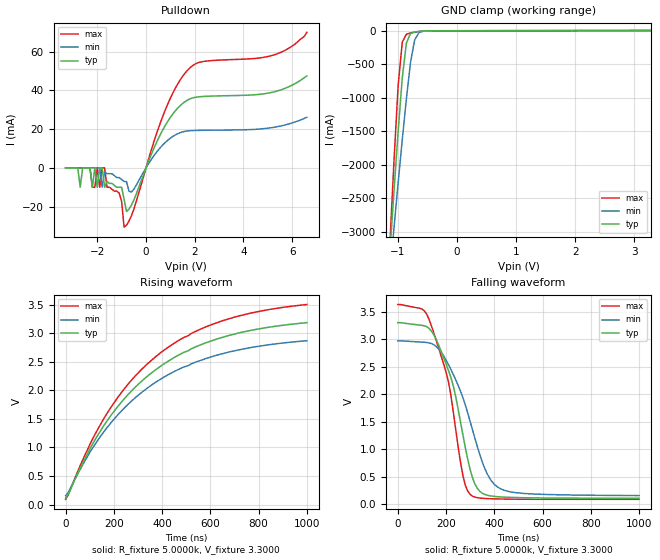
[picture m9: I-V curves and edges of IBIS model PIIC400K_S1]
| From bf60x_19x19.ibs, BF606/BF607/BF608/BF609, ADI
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[Model]  PIIC400K_S1
Model_type I/O_open_drain
Polarity   Non-Inverting
Enable   Active-Low
Vinl =   0.9900V
Vinh =   2.3100V
Vmeas =  1.6500V
Cref =   50.0000pF
Rref =   5.0000k
Vref =   3.3000V
C_comp   5.3246pF   5.6155pF   5.1879pF
[Temperature Range]   25.0000   0.1250k   -40.0000
[Voltage Range]   3.3000V   2.9700V   3.6300V
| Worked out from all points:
|   slope of the pulldown table from 0 to 0.495 V, typ, clamps not added: 33.4 ohm
|   rising waveform, R_fixture 5.0000k, V_fixture 3.3000: 20-80 % time 378ns typ, 378ns min, 379ns max; typ from 0.11 V to 3.19 V
|   falling waveform, R_fixture 5.0000k, V_fixture 3.3000: 20-80 % time 103ns typ, 130ns min, 95.5ns max; typ from 3.3 V to 0.111 V
[Pulldown]
|Voltage   I(typ)   I(min)   I(max)
-3.3V     0A         0A         0A
-2.7V     -10mA      0A         0A
-2.3V     0A         0A         0A
-2.2V     -10mA      0A         -10mA
-2.1V     0A         0A         -10mA
-1.7V     -10mA      -2mA       0A
-1.1V     -10mA      -5mA       -13mA
-900mV    -16.1mA    -7mA       -30.6mA
-700mV    -21.33mA   -12mA      -27.45mA
700mV     19.88mA    12.02mA    27.02mA
1.7V      34.99mA    19.08mA    50.36mA
6.6V      47.5mA     26.13mA    70mA
[GND_clamp]
|Voltage   I(typ)   I(min)   I(max)
-3.3V     -34.11A    -25.9A     -45.76A
-1.13V    -3.316A    -3.624A    -3.186A
-1.06V    -2.393A    -2.942A    -1.945A
-990mV    -1.508A    -2.273A    -822.2mA
-920mV    -702.5mA   -1.625A    -173.3mA
-850mV    -183.6mA   -1.012A    -53.5mA
-780mV    -42.62mA   -469.7mA   -36.26mA
-710mV    -21.09mA   -137mA     -24.91mA
-640mV    -13.34mA   -32.84mA   -15.68mA
-570mV    -8.167mA   -11.05mA   -8.925mA
3.28V     -18.57uA   287.9uA    -325.1uA
[Ramp]
| variable   typ   min   max
dV/dt_r  1.8451/0.3785u   1.6281/0.3783u   2.0469/0.3793u
dV/dt_f  1.9136/0.1034u   1.6860/0.1296u   2.1232/95.5429n
R_load = 5.0000k
[Rising Waveform]
R_fixture= 5.0000k
V_fixture= 3.3000
V_fixture_min= 2.9700
V_fixture_max= 3.6300
|time   V(typ)   V(min)   V(max)
0s        109.8mV    155.5mV    91.51mV
10.1ns    172.5mV    206.5mV    163.5mV
100ns     969.7mV    910.3mV    1.048V
170ns     1.453V     1.338V     1.584V
270ns     1.975V     1.799V     2.163V
370ns     2.35V      2.132V     2.577V
490ns     2.665V     2.409V     2.926V
620ns     2.889V     2.607V     3.174V
790ns     3.067V     2.765V     3.372V
1us       3.185V     2.869V     3.503V
[Falling Waveform]
R_fixture= 5.0000k
V_fixture= 3.3000
V_fixture_min= 2.9700
V_fixture_max= 3.6300
|time   V(typ)   V(min)   V(max)
0s        3.3V       2.97V      3.63V
100ns     3.251V     2.947V     3.549V
130ns     3.194V     2.932V     3.358V
220ns     2.308V     2.453V     1.988V
270ns     1.264V     1.939V     525.9mV
300ns     632.2mV    1.508V     180.5mV
330ns     290.3mV    1.048V     121.4mV
370ns     167.4mV    561.9mV    105.2mV
440ns     131.6mV    257.2mV    96.54mV
1us       110.6mV    160mV      91.38mV
